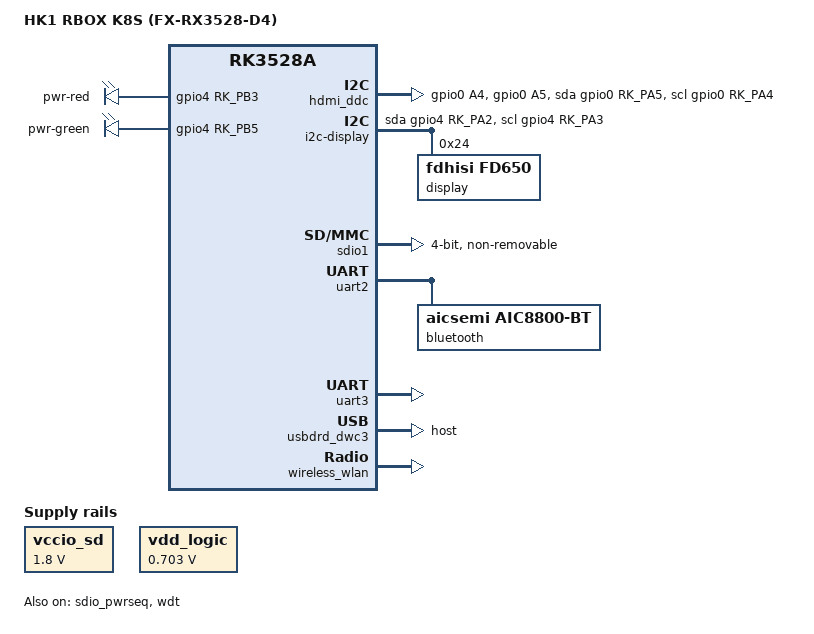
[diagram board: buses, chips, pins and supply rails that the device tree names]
/dts-v1/;

/*
 * Written by tools/dtcx/upstream.py from board.dts: a view, not edited.
 * Over rockchip-linux/kernel at 77168c8d5ab8.
 * Needs, beyond it, found by name and so best-effort: each
 * patch adding a name the tree uses or a dtsi change it keeps, which may in
 * turn need others before it:
 *   patches/linux-rockchip/bluetooth-hci-h4-serdev.patch:
 *     "aicsemi,aic8800-bt"
 */

#include "rk3528-evb1-ddr4-v10.dts"
#include <dt-bindings/clock/rk3528-cru.h>
#include <dt-bindings/gpio/gpio.h>
#include <dt-bindings/pinctrl/rockchip.h>
#include <dt-bindings/input/linux-event-codes.h>
#include <dt-bindings/suspend/rockchip-rk3528.h>

/ {
	/* rk3528a, last, is MPP's only RK3528 with VP9, which this decodes on mainline */
	compatible = "rockchip,rk3528-box", "rockchip,rk3528", "rockchip,rk3528a";
	model = "HK1 RBOX K8S (FX-RX3528-D4)";

	spdif-sound {
		status = "disabled";
	};

	/* the HDMI DDC lines as a full I2C bus: dw-hdmi's own master reads the EDID but refuses DDC/CI */
	hdmi_ddc: i2c-hdmi-ddc {
		compatible = "i2c-gpio";
		sda-gpios = <&gpio0 RK_PA5 GPIO_OPEN_DRAIN>;
		scl-gpios = <&gpio0 RK_PA4 GPIO_OPEN_DRAIN>;
		i2c-gpio,delay-us = <5>;
		pinctrl-names = "default";
		pinctrl-0 = <&hdmi_ddc_gpio>;
		#address-cells = <1>;
		#size-cells = <0>;
	};

	leds: gpio-leds {
		compatible = "gpio-leds";

		pwr-red {
			gpios = <&gpio4 RK_PB3 GPIO_ACTIVE_HIGH>;
			linux,default-trigger = "none";
			default-state = "off";
			retain-state-suspended;
			retain-state-shutdown;
		};

		pwr-green {
			gpios = <&gpio4 RK_PB5 GPIO_ACTIVE_HIGH>;
			linux,default-trigger = "none";
			default-state = "on";
			retain-state-suspended;
			retain-state-shutdown;
		};
	};

	i2c-display {
		compatible = "i2c-gpio";
		sda-gpios = <&gpio4 RK_PA2 (GPIO_ACTIVE_HIGH | GPIO_OPEN_DRAIN)>;
		scl-gpios = <&gpio4 RK_PA3 (GPIO_ACTIVE_HIGH | GPIO_OPEN_DRAIN)>;
		i2c-gpio,delay-us = <5>;
		#address-cells = <1>;
		#size-cells = <0>;

		display@24 {
			compatible = "fdhisi,fd650", "titanmec,tm1650";
			reg = <0x24>;
			default-brightness = <3>;

			digits {
				#address-cells = <1>;
				#size-cells = <0>;

				digit@0 {
					reg = <0>;
					segments = <0 0>, <0 1>, <0 2>, <0 3>, <0 4>, <0 5>, <0 6>;
				};

				digit@1 {
					reg = <1>;
					segments = <1 0>, <1 1>, <1 2>, <1 3>, <1 4>, <1 5>, <1 6>;
				};

				digit@2 {
					reg = <2>;
					segments = <2 0>, <2 1>, <2 2>, <2 3>, <2 4>, <2 5>, <2 6>;
				};

				digit@3 {
					reg = <3>;
					segments = <3 0>, <3 1>, <3 2>, <3 3>, <3 4>, <3 5>, <3 6>;
				};
			};

			leds {
				#address-cells = <2>;
				#size-cells = <0>;

				led@1,7 {
					reg = <1 7>;
					function = "colon";
				};
			};
		};
	};

	amlogic_battery: dummy-battery {
		compatible = "amlogic, dummy-battery";
		status = "okay";
	};

	amlogic_charger: dummy-charger {
		compatible = "amlogic, dummy-charger";
		status = "okay";
	};
};

&adc_keys {
	vol-up-key {
		label = "recovery";
		linux,code = <KEY_VENDOR>; /* AV-jack recovery button */
	};
};

&chosen {
	/delete-property/ bootargs;
};

&cpu0_opp_table {
	/delete-property/ rockchip,temp-hysteresis;
	/delete-property/ rockchip,low-temp;
	/delete-property/ rockchip,low-temp-min-volt;
	rockchip,pvtm-voltage-sel = <0 1320 0>, <1321 1350 1>, <1351 1375 2>, <1376 1405 3>,
	                            <1406 1435 4>, <1436 1470 5>, <1471 1505 6>,
	                            <1506 1540 7>, <1541 1575 8>, <1576 1610 9>,
	                            <1611 1640 10>, <1641 9999 11>;
};

&dmc {
	status = "disabled"; /* its DDR rate changes hang the SoC */
};

&dmc_opp_table {
	rockchip,leakage-voltage-sel = <1 10 0>, <11 14 1>, <15 22 2>, <23 28 3>,
	                               <29 254 4>;
	/delete-node/ opp-324000000;
	/delete-node/ opp-666000000;
};

&gmac1 {
	status = "disabled";
};

&gpu {
	interrupt-names = "gp", "gpmmu", "pp", "pp0", "ppmmu0", "pp1", "ppmmu1"; /* Lima bindings */
	clocks = <&scmi_clk SCMI_CLK_GPU>, <&cru ACLK_GPU_MALI>;
	clock-names = "core", "bus";
	mali-supply = <&vdd_logic>;
};

&gpu_bus {
	status = "disabled"; /* lima's mali-supply sets vdd_logic; this one's probe fails */
};

&gpu_bus_opp_table {
	rockchip,leakage-voltage-sel = <1 22 0>, <23 254 1>;
};

&gpu_opp_table {
	/delete-property/ rockchip,temp-hysteresis;
	/delete-property/ rockchip,low-temp;
	/delete-property/ rockchip,low-temp-min-volt;
	rockchip,pvtm-voltage-sel = <0 750 0>, <751 770 1>, <771 790 2>, <791 810 3>,
	                            <811 830 4>, <831 850 5>, <851 870 6>, <871 890 7>,
	                            <891 9999 8>;
};

&gpu_power_model {
	ls = <0xffffc2d6 0x1071a 0x00>;
	ts = <0x302a42 0x1d55a 0xfffff636 0x27>;
};

&hdmi {
	/delete-property/ rockchip,cts-manual;
	pinctrl-names = "default", "sleep";
	pinctrl-1 = <&hdmi_pins>;
	ddc-i2c-bus = <&hdmi_ddc>;
	cec-enable;
};

&hdmi_pins {
	rockchip,pins = <0 RK_PA3 1 &pcfg_pull_none>;
};

&i2c6 {
	status = "disabled";
};

&mpp_srv {
	/delete-property/ rockchip,iommu-shared-mask;
};

&pinctrl {
	hdmi {
		hdmi_ddc_gpio: hdmi-ddc-gpio {
			rockchip,pins = <0 RK_PA4 RK_FUNC_GPIO &pcfg_pull_none>,
			                <0 RK_PA5 RK_FUNC_GPIO &pcfg_pull_none>;
		};
	};

	sdio-pwrseq {
		/delete-node/ wifi-enable-h;

		wifi_reset: wifi-reset {
			rockchip,pins = <3 RK_PB4 RK_FUNC_GPIO &pcfg_output_high>;
		};
	};

	wireless-bluetooth {
		uart2m0_gpios: uart2m0-gpios {
			rockchip,pins = <3 RK_PA2 RK_FUNC_GPIO &pcfg_pull_none>;
		};
	};

	wireless-wlan {
		wifi_enable_h: wifi-enable-h {
			rockchip,pins = <3 RK_PB2 RK_FUNC_GPIO &pcfg_output_high>;
		};
	};
};

&pwm0 {
	status = "disabled";
};

&pwm1 {
	/delete-property/ interrupts;
};

&pwm2 {
	/delete-property/ interrupts;
};

&pwm3 {
	remote_support_psci = <0x01>; /* the remote wakes the box from off */

	ir_key1 {
		rockchip,usercode = <0xff00>;
		rockchip,key_table = <0xf9 KEY_HOME>, <0xbf KEY_BACK>, <0xfb KEY_MENU>,
		                     <0xaa KEY_REPLY>, <0xb9 KEY_UP>, <0xe9 KEY_DOWN>,
		                     <0xb8 KEY_LEFT>, <0xea KEY_RIGHT>,
		                     <0xeb KEY_VOLUMEDOWN>, <0xef KEY_VOLUMEUP>,
		                     <0xf7 KEY_MUTE>, <0xe7 KEY_POWER>, <0xfc KEY_POWER>,
		                     <0xa9 KEY_VOLUMEDOWN>, <0xa8 KEY_PLAYPAUSE>,
		                     <0xe0 KEY_VOLUMEDOWN>, <0xa5 KEY_VOLUMEDOWN>,
		                     <0xab KEY_F13>, <0xb7 KEY_TEXT>, <0xe8 KEY_TEXT>,
		                     <0xf8 KEY_F14>, <0xaf KEY_F15>, <0xed KEY_VOLUMEDOWN>,
		                     <0xee KEY_F16>, <0xb3 KEY_VOLUMEDOWN>,
		                     <0xf1 KEY_VOLUMEDOWN>, <0xf2 KEY_VOLUMEDOWN>,
		                     <0xf3 KEY_SEARCH>, <0xb4 KEY_VOLUMEDOWN>,
		                     <0xa4 KEY_SETUP>, <0xbe KEY_SEARCH>;
	};

	ir_key2 {
		rockchip,usercode = <0x7f80>;
		rockchip,key_table = <0xec KEY_REPLY>, <0xd8 KEY_BACK>, <0xc7 KEY_UP>,
		                     <0xbf KEY_DOWN>, <0xc8 KEY_LEFT>, <0xc6 KEY_RIGHT>,
		                     <0x8c KEY_HOME>, <0x78 KEY_VOLUMEUP>,
		                     <0x76 KEY_VOLUMEDOWN>, <0x7e KEY_POWER>,
		                     <0x7c KEY_MENU>, <0xb7 KEY_TEXT>;
	};

	ir_key4 {
		rockchip,key_table = <0x31 KEY_REPLY>, <0x3a KEY_BACK>, <0x35 KEY_UP>,
		                     <0x2d KEY_DOWN>, <0x66 KEY_LEFT>, <0x3e KEY_RIGHT>,
		                     <0x7f KEY_VOLUMEUP>, <0xfe KEY_VOLUMEDOWN>,
		                     <0x23 KEY_POWER>, <0x63 KEY_MUTE>, <0x6d KEY_1>,
		                     <0x6c KEY_2>, <0x33 KEY_3>, <0x71 KEY_4>, <0x70 KEY_5>,
		                     <0x37 KEY_6>, <0x75 KEY_7>, <0x74 KEY_8>, <0x3b KEY_9>,
		                     <0x78 KEY_0>, <0x73 KEY_PAGEDOWN>, <0x22 KEY_PAGEUP>,
		                     <0x72 KEY_SETUP>, <0x7a 0xf9>, <0x79 0xfa>,
		                     <0x77 0xfb>, <0x29 0xfc>, <0x32 0xfd>, <0x6e 0xfe>,
		                     <0x7c 0xff>, <0x3c BTN_0>, <0x67 BTN_1>, <0x25 BTN_2>,
		                     <0x2f BTN_3>, <0x7d BTN_4>, <0x6a KEY_PLAYPAUSE>,
		                     <0x0b KEY_EQUAL>;
	};

	ir_key5 {
		rockchip,key_table = <0x4c KEY_REPLY>, <0x4d KEY_BACK>, <0x4b KEY_UP>,
		                     <0x4a KEY_DOWN>, <0x49 KEY_LEFT>, <0x48 KEY_RIGHT>,
		                     <0x4e KEY_HOME>, <0x0b KEY_VOLUMEUP>,
		                     <0x0c KEY_VOLUMEDOWN>, <0x23 KEY_POWER>,
		                     <0x45 KEY_MUTE>, <0x44 KEY_MENU>, <0x78 KEY_1>,
		                     <0x77 KEY_2>, <0x76 KEY_3>, <0x75 KEY_4>, <0x74 KEY_5>,
		                     <0x73 KEY_6>, <0x72 KEY_7>, <0x71 KEY_8>, <0x70 KEY_9>,
		                     <0x79 KEY_0>, <0x43 KEY_EQUAL>, <0x72 BTN_2>,
		                     <0x5f KEY_SETUP>, <0x25 0xfd>, <0x24 0xfe>,
		                     <0x21 0xff>, <0x20 BTN_0>;
	};

	ir_key6 {
		rockchip,key_table = <0xec KEY_OK>, <0xe6 KEY_BACK>, <0xe9 KEY_UP>,
		                     <0xe5 KEY_DOWN>, <0xae KEY_LEFT>, <0xaf KEY_RIGHT>,
		                     <0xee KEY_HOMEPAGE>, <0xe7 KEY_VOLUMEUP>,
		                     <0xef KEY_VOLUMEDOWN>, <0xbf KEY_POWER>,
		                     <0xbe KEY_MUTE>, <0xb3 KEY_MENU>, <0xff KEY_TOUCHPAD_TOGGLE>,
		                     <0xb1 KEY_1>, <0xf2 KEY_2>, <0xf3 KEY_3>, <0xb5 KEY_4>,
		                     <0xf6 KEY_5>, <0xf7 KEY_6>, <0xb9 KEY_7>, <0xfa KEY_8>,
		                     <0xfb KEY_9>, <0xfe KEY_0>, <0xbd KEY_BACKSPACE>,
		                     <0xbc KEY_SETUP>, <0xf0 KEY_F13>, <0xb4 KEY_PREVIOUS>,
		                     <0xb0 KEY_NEXT>, <0x6d KEY_KATAKANA>,
		                     <0x6c KEY_HIRAGANA>, <0x33 KEY_HENKAN>,
		                     <0x71 KEY_KATAKANAHIRAGANA>, <0x70 KEY_MUHENKAN>,
		                     <0x37 KEY_KPJPCOMMA>;
	};

	ir_key7 {
		rockchip,key_table = <0x31 KEY_REPLY>, <0x3a KEY_BACK>, <0x35 KEY_UP>,
		                     <0x2d KEY_DOWN>, <0x66 KEY_LEFT>, <0x3e KEY_RIGHT>,
		                     <0x7f KEY_VOLUMEUP>, <0x7e KEY_VOLUMEDOWN>,
		                     <0x23 KEY_POWER>, <0x63 KEY_MUTE>, <0x6d KEY_1>,
		                     <0x6c KEY_2>, <0x33 KEY_3>, <0x71 KEY_4>, <0x70 KEY_5>,
		                     <0x37 KEY_6>, <0x75 KEY_7>, <0x74 KEY_8>, <0x3b KEY_9>,
		                     <0x78 KEY_0>, <0x73 KEY_PAGEDOWN>, <0x22 KEY_PAGEUP>,
		                     <0x72 KEY_SETUP>, <0x7a 0xf9>, <0x79 0xfa>,
		                     <0x77 0xfb>, <0x29 0xfc>, <0x32 0xfd>, <0x6e 0xfe>,
		                     <0x7c 0xff>, <0x3c BTN_0>, <0x67 BTN_1>, <0x25 BTN_2>,
		                     <0x2f BTN_3>, <0x7d BTN_4>, <0x6a KEY_PLAYPAUSE>,
		                     <0x0b KEY_EQUAL>;
	};

	ir_key8 {
		rockchip,key_table = <0x31 KEY_REPLY>, <0x6a KEY_BACK>, <0x35 KEY_UP>,
		                     <0x2d KEY_DOWN>, <0x66 KEY_LEFT>, <0x3e KEY_RIGHT>,
		                     <0x7f KEY_VOLUMEUP>, <0x7e KEY_VOLUMEDOWN>,
		                     <0x23 KEY_POWER>, <0x63 KEY_MUTE>, <0x6d KEY_1>,
		                     <0x6c KEY_2>, <0x33 KEY_3>, <0x71 KEY_4>, <0x70 KEY_5>,
		                     <0x37 KEY_6>, <0x75 KEY_7>, <0x74 KEY_8>, <0x3b KEY_9>,
		                     <0x78 KEY_0>, <0x73 KEY_PAGEDOWN>, <0x22 KEY_PAGEUP>,
		                     <0x72 KEY_SETUP>, <0x7a 0xf9>, <0x79 0xfa>,
		                     <0x77 0xfb>, <0x2f 0xfc>, <0x32 0xfd>, <0x6e 0xfe>,
		                     <0x7c 0xff>, <0x3c BTN_0>, <0x3a KEY_HELP>,
		                     <0x67 BTN_1>, <0x25 BTN_3>, <0x7d KEY_MENU>,
		                     <0x3f KEY_EQUAL>, <0x29 KEY_TEXT>,
		                     <0x26 KEY_PLAYPAUSE>, <0x76 KEY_BLUE>,
		                     <0x7b KEY_YELLOW>, <0x69 KEY_F8>;
	};

	ir_key9 {
		rockchip,usercode = <0x7788>;
		rockchip,key_table = <0xe6 KEY_REPLY>, <0xb7 KEY_BACK>, <0xea KEY_UP>,
		                     <0xe9 KEY_DOWN>, <0xe8 KEY_LEFT>, <0xe7 KEY_RIGHT>,
		                     <0xb8 KEY_HOME>, <0xdc KEY_VOLUMEUP>,
		                     <0xdb KEY_VOLUMEDOWN>, <0xde KEY_POWER>,
		                     <0xda KEY_MUTE>, <0x9f KEY_MENU>, <0xcd KEY_TEXT>,
		                     <0xf0 KEY_SETUP>, <0x8b KEY_F13>, <0xcc KEY_PREVIOUS>,
		                     <0xcb KEY_NEXT>, <0xb9 KEY_F11>, <0x9b KEY_F6>,
		                     <0x9c KEY_F8>, <0x98 KEY_F4>, <0x97 KEY_F5>;
	};

	ir_key10 {
		rockchip,usercode = <0xf709>;
		rockchip,key_table = <0xe0 KEY_REPLY>, <0xe3 KEY_BACK>, <0xff KEY_UP>,
		                     <0xfe KEY_DOWN>, <0xfc KEY_LEFT>, <0xfd KEY_RIGHT>,
		                     <0xf3 KEY_HOME>, <0xa7 KEY_VOLUMEUP>,
		                     <0xa2 KEY_VOLUMEDOWN>, <0xf5 KEY_POWER>,
		                     <0xf2 KEY_MUTE>, <0xe5 KEY_MENU>, <0xb5 KEY_TEXT>,
		                     <0x7f KEY_SETUP>, <0xe4 KEY_F13>, <0xae KEY_PREVIOUS>,
		                     <0xad KEY_NEXT>, <0xdd KEY_F11>, <0x8d KEY_F6>,
		                     <0x8e KEY_F8>, <0x8c KEY_F4>, <0x79 KEY_F7>;
	};

	ir_key11 {
		rockchip,usercode = <0xbf00>;
		rockchip,key_table = <0xff KEY_POWER>, <0xef KEY_REPLY>, <0xea KEY_BACK>,
		                     <0xec KEY_UP>, <0xeb KEY_DOWN>, <0xee KEY_LEFT>,
		                     <0xed KEY_RIGHT>, <0x9e KEY_HOME>, <0xb7 KEY_VOLUMEUP>,
		                     <0xb6 KEY_VOLUMEDOWN>, <0xe9 KEY_MENU>,
		                     <0xb0 KEY_TEXT>;
	};
};

&reboot_mode {
	mode-bootloader = <0x5242c301>;
	mode-charge = <0x5242c30b>;
	mode-fastboot = <0x5242c309>;
	mode-loader = <0x5242c301>;
	mode-normal = <0x5242c300>;
	mode-recovery = <0x5242c303>;
	mode-ums = <0x5242c30c>;
	mode-panic = <0x5242c307>;
	mode-watchdog = <0x5242c308>;
};

&rmii0_phy {
	/delete-property/ pinctrl-names;
	/delete-property/ pinctrl-0;
	/delete-property/ rockchip,thermal-zone;
};

&rockchip_suspend {
	rockchip,sleep-mode-config = <RKPM_SLP_ARMPD>;
	rockchip,wakeup-config = <(RKPM_CPU0_WKUP_EN | RKPM_GPIO_WKUP_EN)>;
	rockchip,pwm-regulator-config = <RKPM_PWM1_M0_REGULATOR_EN>;
};

&route_hdmi {
	logo,kernel = "logo.bmp";
	logo,mode = "fullscreen";
	charge_logo,mode = "fullscreen";
};

&route_tve {
	logo,kernel = "logo.bmp";
	logo,mode = "fullscreen";
	charge_logo,mode = "fullscreen";
};

&sai1 {
	status = "disabled";
};

&sai3 {
	/delete-property/ assigned-clocks;
	/delete-property/ assigned-clock-rates;
	/delete-property/ rockchip,always-on;
};

&sdhci {
	/delete-property/ no-sd;
	/delete-property/ no-sdio;
	max-frequency = <150000000>;
	fifo-depth = <256>;
	supports-emmc;
	mmc-hs200-1_8v;
	disable-wp;
	cap-mmc-highspeed;
	fixed-emmc-driver-type = <0x04>;
};

&sdio0 {
	status = "disabled";
};

&sdio1 {
	fifo-depth = <4096>;
	no-sd;
	no-mmc;
	supports-sdio;
	bus-width = <4>;
	disable-wp;
	cap-sd-highspeed;
	cap-sdio-irq;
	keep-power-in-suspend;
	non-removable;
	mmc-pwrseq = <&sdio_pwrseq>;
	pinctrl-names = "default";
	pinctrl-0 = <&sdio1_bus4>, <&sdio1_cmd>, <&sdio1_clk>;
	post-power-on-delay-ms = <100>;
	sd-uhs-sdr12;
	sd-uhs-sdr25;
	sd-uhs-sdr50;
	sd-uhs-ddr50;
	sd-uhs-sdr104;
	status = "okay";
};

&sdio1_bus4 {
	rockchip,pins = <3 RK_PA6 1 &pcfg_pull_up>,
	                <3 RK_PA7 1 &pcfg_pull_up>,
	                <3 RK_PB0 1 &pcfg_pull_up>,
	                <3 RK_PB1 1 &pcfg_pull_up>;
};

&sdio1_clk {
	rockchip,pins = <3 RK_PA4 1 &pcfg_pull_up>;
};

&sdio1_cmd {
	rockchip,pins = <3 RK_PA5 1 &pcfg_pull_up>;
};

&sdio_pwrseq {
	/delete-property/ post-power-on-delay-ms;
	pinctrl-0 = <&wifi_reset>, <&clkm0_32k_out>;
	reset-gpios = <&gpio3 RK_PB4 GPIO_ACTIVE_LOW>,
		      <&gpio3 RK_PB2 GPIO_ACTIVE_LOW>;
	power-off-delay-us = <2000000>; /* B2, the module enable, low 2 s: a stalled card returns */
	status = "okay";
};

&sdmmc {
	/delete-property/ rockchip,default-sample-phase;
	/delete-property/ sd-uhs-sdr12;
	/delete-property/ sd-uhs-sdr25;
	/delete-property/ sd-uhs-sdr50;
	/delete-property/ sd-uhs-sdr104;
	/delete-property/ vqmmc-supply;
	num-slots = <0x01>;
	card-detect-delay = <0x1f4>;
};

&sfc {
	status = "disabled";
};

&soc_crit {
	temperature = <115000>;
};

&soc_thermal {
	polling-delay-passive = <500>;
	sustainable-power = <927>;
};

&spdif_8ch {
	status = "disabled";
};

&spdif_out {
	status = "disabled";
};

&target {
	temperature = <85000>;
};

&threshold {
	temperature = <75000>;
};

&tve {
	rockchip,tve-upsample = <0x02>;
};

&u2phy_otg {
	/delete-property/ vbus-supply;
	phy-supply = <&vcc5v0_host>;
};

&uart2 {
	/delete-property/ dmas;
	pinctrl-0 = <&uart2m0_xfer>, <&uart2m0_ctsn>;

	bluetooth {
		compatible = "aicsemi,aic8800-bt"; /* SDIO c8a1:0082, an AIC8800D80, not rtl8822cs */
		max-speed = <1500000>;
	};
};

&uart3 {
	pinctrl-names = "default";
	dma-names = "!tx", "!rx";
	pinctrl-0 = <&uart3m1_xfer>;
	status = "okay";
};

&usbdrd_dwc3 {
	dr_mode = "host";
	snps,xhci-trb-ent-quirk;
};

&vcc5v0_host {
	gpio = <&gpio4 RK_PB4 GPIO_ACTIVE_HIGH>;
};

&vcc5v0_host_en {
	rockchip,pins = <4 RK_PB4 RK_FUNC_GPIO &pcfg_pull_none>;
};

&vcc5v0_otg {
	status = "disabled";
};

&vcc_sd {
	/delete-property/ gpio;
	regulator-always-on;
};

&vccio_sd {
	/delete-property/ gpios;
	/delete-property/ states;
	compatible = "regulator-fixed";
	regulator-max-microvolt = <1800000>;
	regulator-always-on;
};

&vdd_gpu {
	status = "disabled";
};

&vdd_logic {
	regulator-min-microvolt = <703000>;
};

&vop {
	/delete-property/ support-multi-area;
	esmart_lb_mode = [02]; /* Esmart0 a 4K line buffer; sub-windows never reach HDMI */
};

&wdt {
	status = "okay"; /* Recover from kernel hangs. */
};

&wifi_host_wake_irq {
	rockchip,pins = <3 RK_PB3 RK_FUNC_GPIO &pcfg_pull_down>;
};

&wireless_bluetooth {
	/delete-property/ bt_port;
	/delete-property/ BT,wake_gpio;
	uart_rts_gpios = <&gpio3 RK_PA2 GPIO_ACTIVE_LOW>;
	pinctrl-0 = <&uart2m0_rtsn>;
	pinctrl-1 = <&uart2m0_gpios>;
	BT,reset_gpio = <&gpio3 RK_PC2 GPIO_ACTIVE_HIGH>;
	BT,wake_host_irq = <&gpio3 RK_PC1 GPIO_ACTIVE_HIGH>;
};

&wireless_wlan {
	wifi_chip_type = "rtl8822cs";
	WIFI,host_wake_irq = <&gpio3 RK_PB3 GPIO_ACTIVE_HIGH>;
};
